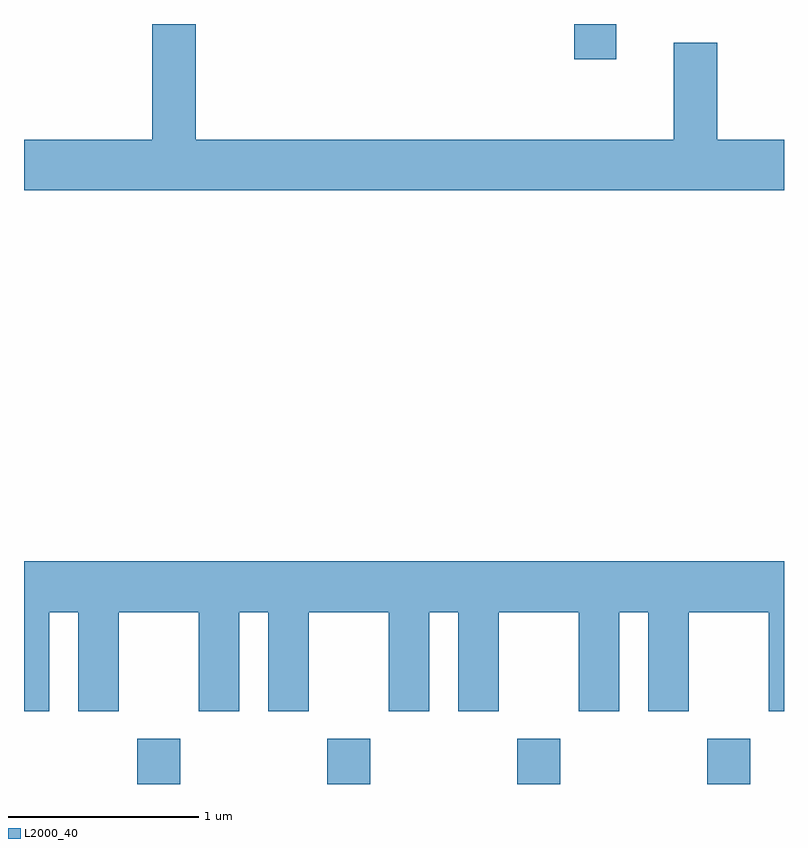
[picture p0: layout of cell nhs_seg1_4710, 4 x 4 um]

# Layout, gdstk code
import gdstk
lib = gdstk.Library(unit=1e-6, precision=1e-09)
def R(c, l, rs):  # rectangles x0, y0, x1, y1
    for r in rs: c.add(gdstk.rectangle(r[:2], r[2:], *l))
def A(c, l, x, y, w, h, nx, ny, dx, dy):  # array of equal rectangles
    R(c, l, [(x+i*dx, y+j*dy, x+i*dx+w, y+j*dy+h) for i in range(nx) for j in range(ny)])
def P(c, l, *ps):  # polygons
    for p in ps: c.add(gdstk.Polygon(p, *l))
L2000_40 = (2000, 40)

nhs_seg1_4710 = lib.new_cell('nhs_seg1_4710')
A(nhs_seg1_4710, L2000_40, 326.206, 969.712, 0.228, 0.237, 4, 1, 1, 0)
R(nhs_seg1_4710, L2000_40, [(328.506,973.526,328.729,973.712)])
P(nhs_seg1_4710, L2000_40, [(329.611,973.104),(329.259,973.104),(329.259,973.614),(329.031,973.614),(329.031,973.104),(326.514,973.104),(326.514,973.712),(326.286,973.712),(326.286,973.104),(325.611,973.104),(325.611,972.836),(329.611,972.836)],
  [(325.744,970.616),(325.896,970.616),(325.896,970.096),(326.109,970.096),(326.109,970.616),(326.531,970.616),(326.531,970.096),(326.744,970.096),(326.744,970.616),(326.896,970.616),(326.896,970.096),(327.109,970.096),(327.109,970.616),(327.531,970.616),(327.531,970.096),(327.744,970.096),(327.744,970.616),(327.896,970.616),(327.896,970.096),(328.109,970.096),(328.109,970.616),(328.531,970.616),(328.531,970.096),(328.744,970.096),(328.744,970.616),(328.896,970.616),(328.896,970.096),(329.109,970.096),(329.109,970.616),(329.531,970.616),(329.531,970.096),(329.611,970.096),(329.611,970.884),(325.611,970.884),(325.611,970.096),(325.744,970.096)])

lib.write_gds('nhs_seg1_4710.gds')
